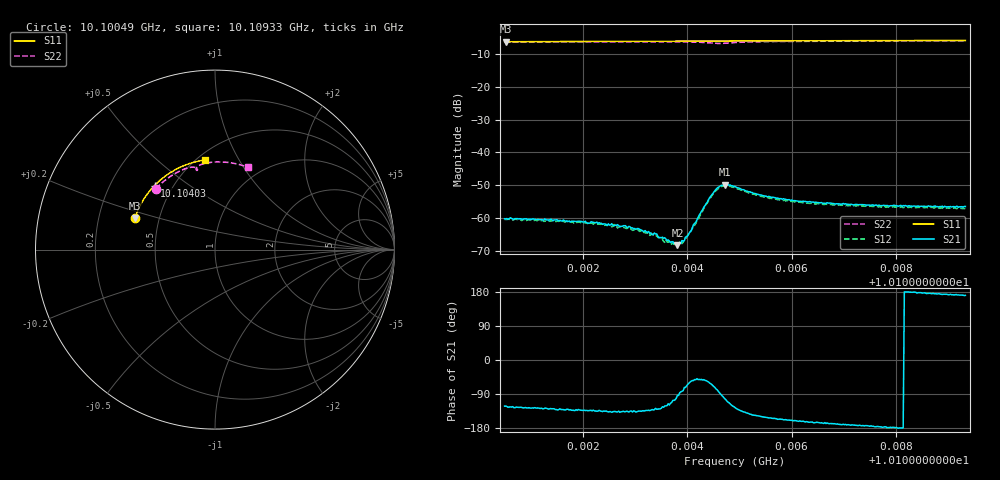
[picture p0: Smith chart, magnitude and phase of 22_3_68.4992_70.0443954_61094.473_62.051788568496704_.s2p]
#  HZ  S  RI  R  50.00
! Rohde & Schwarz Vector Network Analyzer
! Rohde-Schwarz,ZNB20-2Port,1311601062101988,3.16
! Created: UTC 3/20/2024, 5:04:44 PM
! freq[Hz]  re:S11  im:S11  re:S21  im:S21  re:S12  im:S12  re:S22  im:S22
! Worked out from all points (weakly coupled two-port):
!   401 points, 10.10049 GHz to 10.10933 GHz, reference 50 ohm
!   highest |S21| = -49.78 dB at 10.10472 GHz (marker M1); lowest = -68.2 dB at 10.10381 GHz (marker M2)
!   lowest |S11| = -6.4 dB at 10.10052 GHz (marker M3), VSWR 2.85, Z = 18.1 + j8.27 ohm
!   |S11| at or under -10 dB: nowhere
!   |S22| runs from -6.9 to -6.1 dB; largest |S21 - S12| = 0.00033
!   S11 on the Smith chart (normalised r, x): 10.10049 GHz: 0.36, +0.16; 10.10403 GHz: 0.40, +0.37; 10.10933 GHz: 0.55, +0.73
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1.0100494e10  -0.4472 0.1744  -0.000518 -0.000835  -0.000458 -0.000836  -0.3291 0.3391
1.0100516e10  -0.4467 0.1756  -0.000512 -0.000831  -0.000462 -0.000844  -0.3282 0.3402
1.0101975e10  -0.4113 0.257  -0.000607 -0.000656  -0.000524 -0.000652  -0.257 0.4021
1.0102351e10  -0.3997 0.2766  -0.000594 -0.000592  -0.000529 -0.000621  -0.2365 0.4155
1.0102837e10  -0.3833 0.3013  -0.000514 -0.000514  -0.000474 -0.00051  -0.2086 0.4316
1.0103389e10  -0.363 0.328  -0.000352 -0.000456  -0.000312 -0.000425  -0.1745 0.4472
1.0103456e10  -0.3604 0.331  -0.000316 -0.000392  -0.000277 -0.00043  -0.1702 0.4489
1.0103588e10  -0.3551 0.3372  -0.000251 -0.000413  -0.000197 -0.00043  -0.1614 0.4521
1.0103809e10  -0.3463 0.3472  -2.28e-05 -0.000389  -3.08e-06 -0.000387  -0.146 0.4565
1.0103898e10  -0.3427 0.3511  6.05e-05 -0.000457  0.000102 -0.000398  -0.1393 0.4578
1.010403e10  -0.337 0.3569  0.000282 -0.000511  0.000328 -0.000488  -0.1293 0.4593
1.0104163e10  -0.3314 0.3626  0.000537 -0.000683  0.000572 -0.0006  -0.1188 0.4594
1.0104273e10  -0.3268 0.3674  0.000798 -0.001  0.000828 -0.00085  -0.1097 0.4575
1.0104472e10  -0.318 0.3755  0.000958 -0.00207  0.00108 -0.00193  -0.098 0.4481
1.0104605e10  -0.312 0.3809  0.000275 -0.00296  0.000531 -0.00284  -0.0992 0.4417
1.0104715e10  -0.307 0.3854  -0.000655 -0.00318  -0.000342 -0.00308  -0.1034 0.4432
1.0104914e10  -0.298 0.3932  -0.00176 -0.00248  -0.00146 -0.0025  -0.1019 0.4562
1.0105489e10  -0.2703 0.4143  -0.00189 -0.00105  -0.00172 -0.00116  -0.0646 0.4782
1.0106086e10  -0.2402 0.4341  -0.00173 -0.000621  -0.0016 -0.000732  -0.0239 0.4859
1.0106395e10  -0.2239 0.4435  -0.00169 -0.000491  -0.00156 -0.000597  -0.00348 0.4877
1.0107876e10  -0.1419 0.4795  -0.00152 -4.55e-05  -0.00149 -0.000169  0.0926 0.483
1.0109334e10  -0.0561 0.4994  -0.00149 0.000249  -0.0014 6.18e-05  0.1826 0.4599
